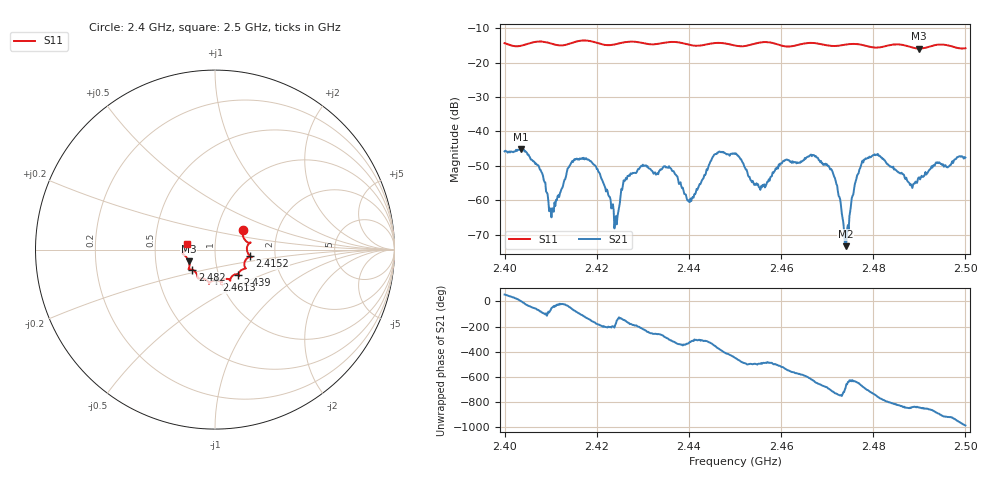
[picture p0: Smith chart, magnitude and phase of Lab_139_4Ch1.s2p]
# Hz S RI R 50
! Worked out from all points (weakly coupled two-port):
!   601 points, 2.4 GHz to 2.5 GHz, reference 50 ohm
!   highest |S21| = -45.11 dB at 2.4035 GHz (marker M1); lowest = -73.4 dB at 2.474 GHz (marker M2)
!   lowest |S11| = -15.9 dB at 2.4898 GHz (marker M3), VSWR 1.38, Z = 37 - j5.01 ohm
!   |S11| at or under -10 dB: start of sweep to end of sweep
!   S12 and S22 are empty: the file has one direction only
!   S11 on the Smith chart (normalised r, x): 2.4 GHz: 1.33, +0.31; 2.4152 GHz: 1.48, -0.11; 2.439 GHz: 1.24, -0.36; 2.4613 GHz: 0.96, -0.34; 2.482 GHz: 0.76, -0.18; 2.5 GHz: 0.73, +0.05
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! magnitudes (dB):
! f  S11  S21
! 2.4 GHz  -14.4  -45.8
! 2.4035 GHz  -15.1  -45.1
! 2.4077 GHz  -13.9  -51.1
! 2.4102 GHz  -14.5  -65.0
! 2.4152 GHz  -14.1  -48.1
! 2.4167 GHz  -13.6  -48.0
! 2.4202 GHz  -14.3  -51.0
! 2.4242 GHz  -14.6  -64.6
! 2.4263 GHz  -14.0  -53.5
! 2.4333 GHz  -14.5  -52.5
! 2.439 GHz  -14.5  -58.2
! 2.45 GHz  -15.0  -46.5
! 2.4557 GHz  -14.1  -55.9
! 2.4613 GHz  -15.3  -48.2
! 2.4667 GHz  -14.3  -47.2
! 2.4713 GHz  -15.2  -52.4
! 2.474 GHz  -14.8  -73.4
! 2.4775 GHz  -14.8  -49.2
! 2.482 GHz  -15.4  -48.0
! 2.4833 GHz  -15.0  -49.8
! 2.4898 GHz  -15.9  -53.4
! 2.5 GHz  -15.8  -47.6
